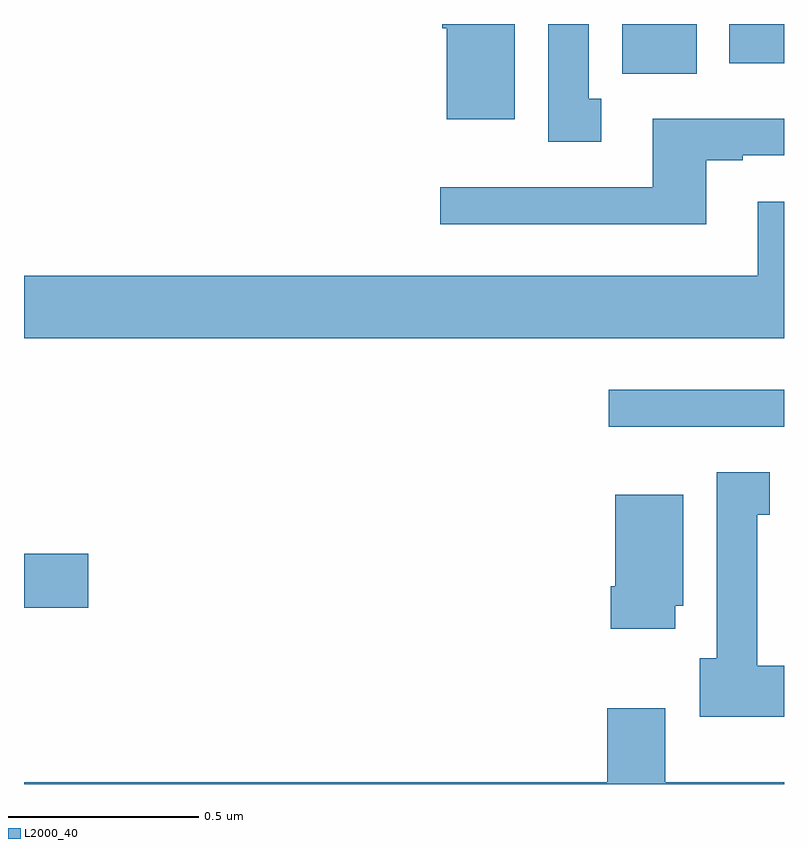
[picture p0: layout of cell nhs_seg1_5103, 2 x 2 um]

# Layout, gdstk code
import gdstk
lib = gdstk.Library(unit=1e-6, precision=1e-09)
def R(c, l, rs):  # rectangles x0, y0, x1, y1
    for r in rs: c.add(gdstk.rectangle(r[:2], r[2:], *l))
def P(c, l, *ps):  # polygons
    for p in ps: c.add(gdstk.Polygon(p, *l))
L2000_40 = (2000, 40)

nhs_seg1_5103 = lib.new_cell('nhs_seg1_5103')
R(nhs_seg1_5103, L2000_40, [(174,577.663,174.169,577.805), (175.539,578.139,176,578.236), (175.574,579.068,175.771,579.199), (175.856,579.096,176,579.199)])
P(nhs_seg1_5103, L2000_40, [(175.519,579.002),(175.486,579.002),(175.486,579.199),(175.379,579.199),(175.379,578.889),(175.519,578.889)],
  [(175.291,579.199),(175.1,579.199),(175.1,579.188),(175.112,579.188),(175.112,578.948),(175.291,578.948)],
  [(175.795,578.841),(175.891,578.841),(175.891,578.853),(176,578.853),(176,578.95),(175.655,578.95),(175.655,578.769),(175.095,578.769),(175.095,578.672),(175.795,578.672)],
  [(176,578.731),(175.931,578.731),(175.931,578.536),(174,578.536),(174,578.372),(176,578.372)],
  [(176,577.51),(175.93,577.51),(175.93,577.907),(175.963,577.907),(175.963,578.02),(175.823,578.02),(175.823,577.53),(175.778,577.53),(175.778,577.376),(176,577.376)],
  [(175.714,577.668),(175.735,577.668),(175.735,577.96),(175.556,577.96),(175.556,577.72),(175.544,577.72),(175.544,577.608),(175.714,577.608)],
  [(176,577.204),(175.687,577.204),(175.687,577.399),(175.535,577.399),(175.535,577.204),(174,577.204),(174,577.199),(176,577.199)])

lib.write_gds('nhs_seg1_5103.gds')
